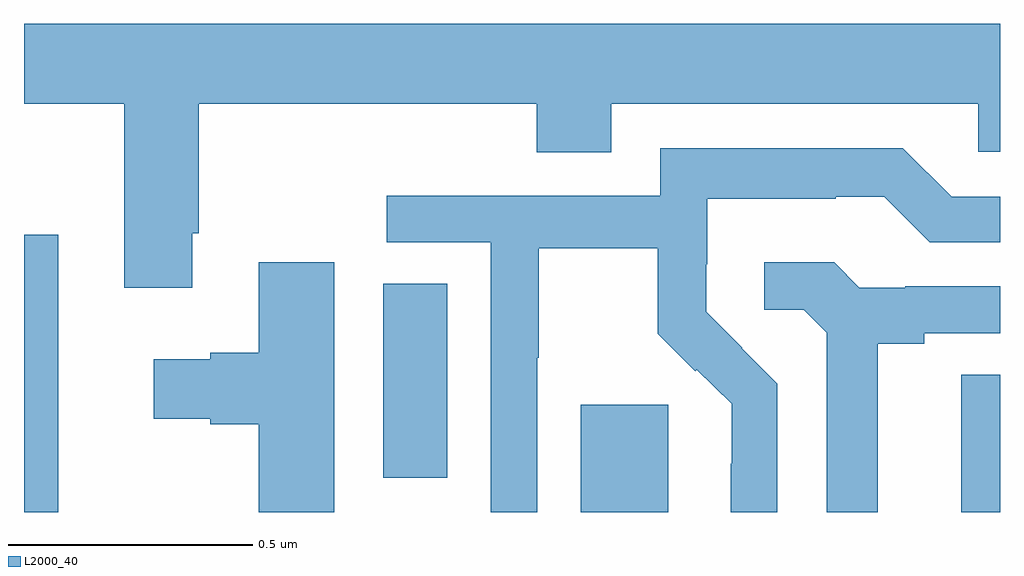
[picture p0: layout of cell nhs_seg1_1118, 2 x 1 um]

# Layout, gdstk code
import gdstk
lib = gdstk.Library(unit=1e-6, precision=1e-09)
def R(c, l, rs):  # rectangles x0, y0, x1, y1
    for r in rs: c.add(gdstk.rectangle(r[:2], r[2:], *l))
def P(c, l, *ps):  # polygons
    for p in ps: c.add(gdstk.Polygon(p, *l))
L2000_40 = (2000, 40)

nhs_seg1_1118 = lib.new_cell('nhs_seg1_1118')
R(nhs_seg1_1118, L2000_40, [(124,580.199,124.07,580.768), (125.141,580.199,125.32,580.419), (125.921,580.199,126,580.481), (124.736,580.27,124.867,580.667)])
P(nhs_seg1_1118, L2000_40, [(124.345,580.771),(124.358,580.771),(124.358,581.036),(125.051,581.036),(125.051,580.937),(125.203,580.937),(125.203,581.036),(125.955,581.036),(125.955,580.938),(126,580.938),(126,581.2),(124,581.2),(124,581.036),(124.205,581.036),(124.205,580.659),(124.345,580.659)],
  [(125.052,580.516),(125.055,580.516),(125.055,580.74),(125.299,580.74),(125.299,580.565),(125.376,580.488),(125.379,580.491),(125.45,580.421),(125.45,580.298),(125.448,580.298),(125.448,580.199),(125.544,580.199),(125.544,580.462),(125.471,580.535),(125.472,580.536),(125.398,580.61),(125.398,580.707),(125.4,580.707),(125.4,580.841),(125.663,580.841),(125.663,580.845),(125.763,580.845),(125.856,580.752),(126,580.752),(126,580.845),(125.901,580.845),(125.801,580.945),(125.304,580.945),(125.304,580.848),(124.743,580.848),(124.743,580.752),(124.956,580.752),(124.956,580.199),(125.052,580.199)],
  [(124.636,580.711),(124.481,580.711),(124.481,580.526),(124.382,580.526),(124.382,580.513),(124.266,580.513),(124.266,580.391),(124.382,580.391),(124.382,580.379),(124.481,580.379),(124.481,580.199),(124.636,580.199)],
  [(125.749,580.544),(125.845,580.544),(125.845,580.566),(126,580.566),(126,580.662),(125.806,580.662),(125.806,580.659),(125.712,580.659),(125.66,580.711),(125.517,580.711),(125.517,580.614),(125.598,580.614),(125.645,580.567),(125.645,580.199),(125.749,580.199)])

lib.write_gds('nhs_seg1_1118.gds')
